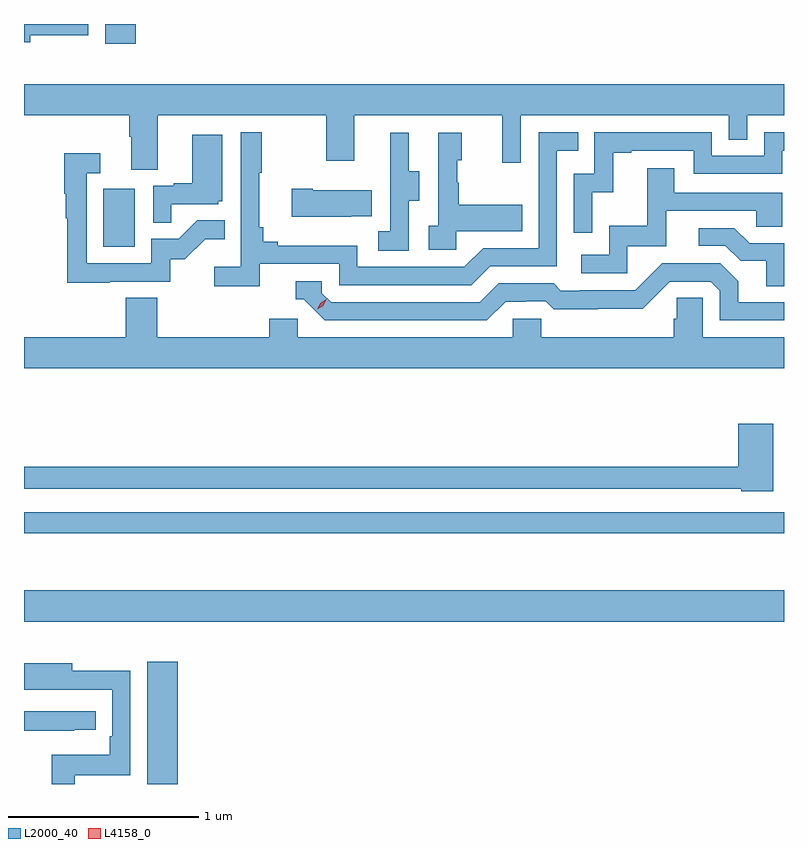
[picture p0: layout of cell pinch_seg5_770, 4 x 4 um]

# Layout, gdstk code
import gdstk
lib = gdstk.Library(unit=1e-6, precision=1e-09)
def R(c, l, rs):  # rectangles x0, y0, x1, y1
    for r in rs: c.add(gdstk.rectangle(r[:2], r[2:], *l))
def P(c, l, *ps):  # polygons
    for p in ps: c.add(gdstk.Polygon(p, *l))
L2000_40 = (2000, 40)
L4158_0 = (4158, 0)

pinch_seg5_770 = lib.new_cell('pinch_seg5_770')
R(pinch_seg5_770, L2000_40, [(842.429,903.857,842.59,904.501), (841.78,904.712,845.78,904.876), (841.78,905.178,845.78,905.286), (842.198,906.684,842.362,906.991), (842.207,907.752,842.368,907.857)])
P(pinch_seg5_770, L2000_40, [(841.813,907.798),(842.118,907.798),(842.118,907.857),(841.78,907.857),(841.78,907.76),(841.813,907.76)],
  [(841.78,907.376),(842.333,907.376),(842.333,907.264),(842.345,907.264),(842.345,907.09),(842.485,907.09),(842.485,907.376),(843.37,907.376),(843.37,907.137),(843.517,907.137),(843.517,907.376),(844.298,907.376),(844.298,907.128),(844.395,907.128),(844.395,907.376),(845.49,907.376),(845.49,907.249),(845.586,907.249),(845.586,907.376),(845.78,907.376),(845.78,907.54),(841.78,907.54)],
  [(843.02,906.594),(843.438,906.594),(843.438,906.483),(844.135,906.483),(844.234,906.582),(844.584,906.582),(844.584,907.191),(844.697,907.191),(844.697,907.287),(844.488,907.287),(844.488,906.678),(844.197,906.678),(844.098,906.579),(843.534,906.579),(843.534,906.691),(843.115,906.691),(843.115,906.71),(843.038,906.71),(843.038,906.787),(843.019,906.787),(843.019,907.075),(843.031,907.075),(843.031,907.288),(842.922,907.288),(842.922,906.58),(842.781,906.58),(842.781,906.478),(843.02,906.478)],
  [(844.77,906.971),(844.88,906.971),(844.88,907.179),(844.975,907.179),(844.975,907.191),(845.304,907.191),(845.304,907.068),(845.772,907.068),(845.772,907.191),(845.78,907.191),(845.78,907.287),(845.676,907.287),(845.676,907.164),(845.4,907.164),(845.4,907.287),(844.782,907.287),(844.782,907.068),(844.674,907.068),(844.674,906.759),(844.77,906.759)],
  [(844.056,906.767),(844.403,906.767),(844.403,906.907),(844.069,906.907),(844.069,907.022),(844.059,907.022),(844.059,907.14),(844.084,907.14),(844.084,907.285),(843.96,907.285),(843.96,906.794),(843.909,906.794),(843.909,906.669),(844.056,906.669)],
  [(843.804,906.928),(843.859,906.928),(843.859,907.083),(843.805,907.083),(843.805,907.285),(843.707,907.285),(843.707,907.071),(843.708,907.071),(843.708,906.767),(843.645,906.767),(843.645,906.664),(843.804,906.664)],
  [(842.555,906.909),(842.802,906.909),(842.802,906.924),(842.824,906.924),(842.824,907.273),(842.666,907.273),(842.666,907.018),(842.567,907.018),(842.567,907.005),(842.46,907.005),(842.46,906.811),(842.555,906.811)],
  [(842.231,906.501),(842.55,906.501),(842.55,906.618),(842.626,906.618),(842.733,906.725),(842.837,906.725),(842.837,906.824),(842.693,906.824),(842.595,906.726),(842.451,906.726),(842.451,906.597),(842.109,906.597),(842.109,907.071),(842.182,907.071),(842.182,907.177),(841.993,907.177),(841.993,906.964),(842.001,906.964),(842.001,906.834),(842.008,906.834),(842.008,906.496),(842.231,906.496)],
  [(844.956,906.687),(845.161,906.687),(845.161,906.873),(845.635,906.873),(845.635,906.789),(845.772,906.789),(845.772,906.969),(845.203,906.969),(845.203,907.099),(845.059,907.099),(845.059,906.796),(844.86,906.796),(844.86,906.642),(844.713,906.642),(844.713,906.546),(844.956,906.546)],
  [(843.503,906.845),(843.611,906.845),(843.611,906.982),(843.301,906.982),(843.301,906.99),(843.189,906.99),(843.189,906.842),(843.503,906.842)],
  [(845.78,906.702),(845.599,906.702),(845.518,906.783),(845.331,906.783),(845.331,906.69),(845.472,906.69),(845.552,906.61),(845.687,906.61),(845.687,906.478),(845.78,906.478)],
  [(844.315,906.396),(844.422,906.396),(844.422,906.399),(844.525,906.399),(844.567,906.357),(844.8,906.357),(844.8,906.359),(845.036,906.359),(845.178,906.501),(845.394,906.501),(845.442,906.453),(845.442,906.297),(845.78,906.297),(845.78,906.393),(845.539,906.393),(845.539,906.503),(845.445,906.597),(845.139,906.597),(844.998,906.456),(844.705,906.456),(844.705,906.453),(844.606,906.453),(844.567,906.492),(844.278,906.492),(844.179,906.393),(843.396,906.393),(843.348,906.441),(843.348,906.504),(843.209,906.504),(843.209,906.408),(843.252,906.408),(843.363,906.297),(844.216,906.297)],
  [(845.78,906.208),(845.352,906.208),(845.352,906.416),(845.215,906.416),(845.215,906.306),(845.201,906.306),(845.201,906.208),(844.503,906.208),(844.503,906.306),(844.353,906.306),(844.353,906.208),(843.222,906.208),(843.222,906.306),(843.071,906.306),(843.071,906.208),(842.48,906.208),(842.48,906.416),(842.315,906.416),(842.315,906.208),(841.78,906.208),(841.78,906.044),(845.78,906.044)],
  [(845.723,905.752),(845.54,905.752),(845.54,905.528),(841.78,905.528),(841.78,905.412),(845.556,905.412),(845.556,905.399),(845.723,905.399)],
  [(842.047,903.903),(842.34,903.903),(842.34,904.454),(842.035,904.454),(842.035,904.492),(841.78,904.492),(841.78,904.352),(841.931,904.352),(841.931,904.353),(842.244,904.353),(842.244,904.108),(842.231,904.108),(842.231,904.012),(841.926,904.012),(841.926,903.857),(842.047,903.857)],
  [(842.045,904.143),(842.158,904.143),(842.158,904.239),(841.78,904.239),(841.78,904.138),(842.045,904.138)])
P(pinch_seg5_770, L4158_0, [(843.324,906.355),(843.324,906.356),(843.34,906.388),(843.371,906.408),(843.371,906.408),(843.371,906.408),(843.355,906.375),(843.324,906.355)])

lib.write_gds('pinch_seg5_770.gds')
